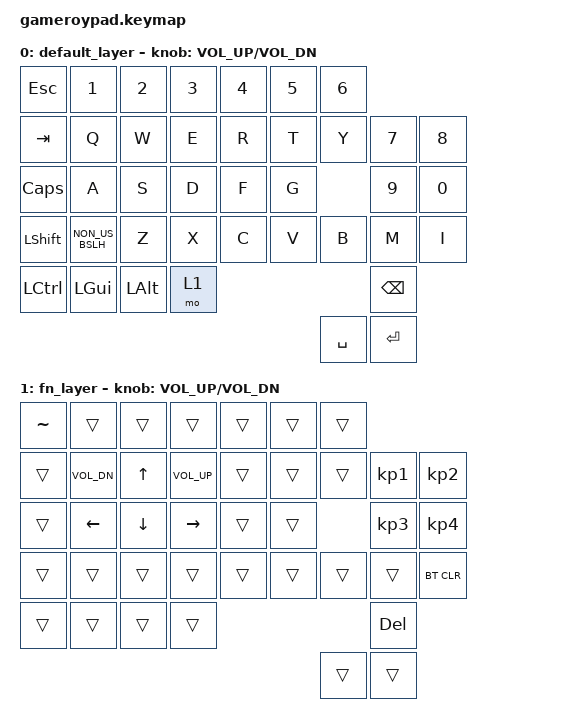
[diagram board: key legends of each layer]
#include <behaviors.dtsi>
#include <dt-bindings/zmk/keys.h>
#include <dt-bindings/zmk/bt.h>
#include <dt-bindings/zmk/outputs.h>

/ {
    keymap {
        compatible = "zmk,keymap";

        default_layer {
// --------------------------------------------------------------------------------------------------------------------------------------------------------------------
// |   ESC   |    1    |    2    |    3    |    4    |    5    |    6    |
// |   TAB   |    Q    |    W    |    E    |    R    |    T    |    Y    |    |   7    |   8    |
// |   CAPS  |    A    |    S    |    D    |    F    |    G    |              |   9    |   0    |
// |  SHIFT  |    \    |    Z    |    X    |    C    |    V    |    B    |    |   M    |   I    |
// |  CTRL   | GUI  |  ALT  | MO1 |                                           |   BSPC  | 
// |                                                                |  SPACE  |  ENTER  |
            bindings = <
	&kp ESC    &kp N1          &kp N2   &kp N3    &kp N4    &kp N5    &kp N6
    &kp TAB    &kp Q           &kp W    &kp E     &kp R     &kp T     &kp Y     &kp N7     &kp N8
    &kp CAPS   &kp A           &kp S    &kp D     &kp F     &kp G               &kp N9     &kp N0
    &kp LSHIFT &kp NON_US_BSLH &kp Z    &kp X     &kp C     &kp V     &kp B     &kp M     &kp I
    &kp LCTRL  &kp LGUI        &kp LALT &mo 1                                &kp BSPC
	                                                              &kp SPACE &kp RET
            >;

            sensor-bindings = <&inc_dec_kp C_VOL_UP C_VOL_DN>;
        };
        fn_layer {
// --------------------------------------------------------------------------------------------------------------------------------------------------------------------
// |    ~    |         |         |         |         |         |         |
// |         |  Vol -  |    UP   |  Vol +  |         |         |         |    |   N1    |   N2    |
// |         |  LEFT   |  DOWN   |  RIGHT  |         |         |              |   N3    |   N4    |
// |         |         |         |         |         |         |         |    | 	|  BT CLR |
// |         |      |      |      |                                           |   DEL  | 
// |                                                                |         |         |
            bindings = <
	&kp TILDE &trans      &trans   &trans    &trans     &trans    &trans
    &trans    &kp C_VOL_DN &kp UP  &kp C_VOL_UP &trans  &trans    &trans      &kp KP_N1     &kp KP_N2
    &trans    &kp LEFT   &kp DOWN  &kp RIGHT  &trans    &trans                &kp KP_N3     &kp KP_N4
    &trans &trans &trans    &trans     &trans           &trans     &trans     &trans	    &bt BT_CLR
    &trans  &trans        &trans    &trans                                &kp DEL
	                                                                            &trans &trans
            >;

            sensor-bindings = <&inc_dec_kp C_VOL_UP C_VOL_DN>;
        };
    };
};
